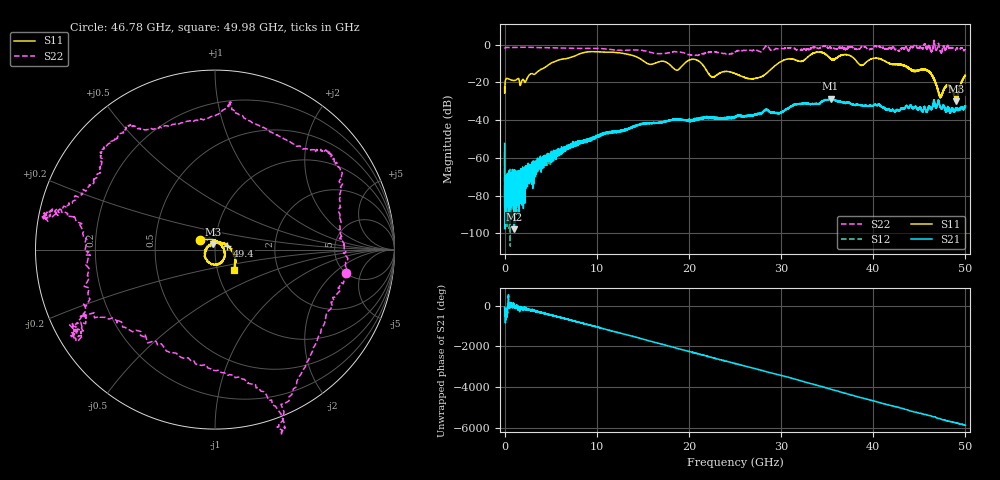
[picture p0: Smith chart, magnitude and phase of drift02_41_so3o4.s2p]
!Created with skrf (http://scikit-rf.org).
# Hz S RI R 50.0
!freq ReS11 ImS11 ReS21 ImS21 ReS12 ImS12 ReS22 ImS22
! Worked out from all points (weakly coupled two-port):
!   10001 points, 300 kHz to 50 GHz, reference 50 ohm
!   highest |S21| = -28.55 dB at 35.38 GHz (marker M1); lowest = -97.9 dB at 1.06 GHz (marker M2)
!   lowest |S11| = -30.1 dB at 49.02 GHz (marker M3), VSWR 1.06, Z = 48.9 + j2.9 ohm
!   |S11| at or under -10 dB: start of sweep to 4.956 GHz; 21.38 GHz to 29.63 GHz (8.255 GHz wide, 32.4 % of centre); 41.85 GHz to end of sweep (the widest 3 of 9)
!   |S22| runs from -5.7 to 2.3 dB; largest |S21 - S12| = 0.0038
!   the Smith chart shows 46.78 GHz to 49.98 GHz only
!   S11 on the Smith chart (normalised r, x): 46.78 GHz: 0.85, +0.09; 49.4 GHz: 1.15, +0.05; 49.98 GHz: 1.20, -0.28
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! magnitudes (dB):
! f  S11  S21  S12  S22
! 300 kHz  -22.6  -52.3  -56.9  -2.1
! 255.3 MHz  -17.9  -82.2  -97.1  -1.4
! 1.06 GHz  -18.9  -97.9  -66.2  -1.4
! 8.335 GHz  -4.5  -51.7  -51.5  -1.9
! 16.67 GHz  -9.1  -41.4  -41.3  -4.7
! 18.7 GHz  -13.5  -39.6  -39.4  -3.7
! 20.6 GHz  -7.7  -39.8  -40.1  -5.7
! 22.51 GHz  -17.1  -38.4  -38.5  -3.7
! 25 GHz  -15.3  -38.2  -38.5  -3.9
! 27.45 GHz  -17.6  -36.7  -36.9  -3.1
! 30.22 GHz  -8.3  -35.5  -35.2  -2.1
! 33.34 GHz  -4.9  -31.3  -31.3  -1.6
! 35.38 GHz  -7.3  -28.5  -28.6  -1.5
! 41.67 GHz  -9.7  -34.2  -34.1  -1.9
! 45.79 GHz  -13.7  -35.1  -35.7  -2.3
! 46.78 GHz  -20.2  -33.1  -32.8  -2.6
! 47.27 GHz  -27.4  -33.0  -32.9  -3.3
! 48.13 GHz  -21.7  -33.7  -32.9  -0.7
! 49.02 GHz  -30.1  -34.6  -34.6  -2.0
! 49.4 GHz  -22.7  -33.9  -34.4  -2.4
! 49.98 GHz  -16.3  -32.4  -33.0  -2.6
! 50 GHz  -16.3  -32.5  -32.6  -2.7
